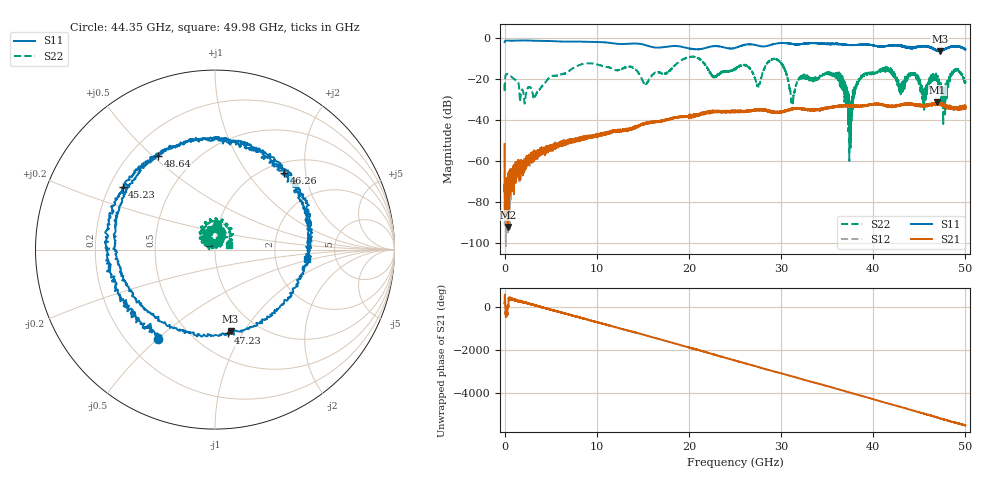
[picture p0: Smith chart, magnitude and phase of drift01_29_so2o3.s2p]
!Created with skrf (http://scikit-rf.org).
# Hz S RI R 50.0
!freq ReS11 ImS11 ReS21 ImS21 ReS12 ImS12 ReS22 ImS22
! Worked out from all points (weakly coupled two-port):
!   10001 points, 300 kHz to 50 GHz, reference 50 ohm
!   highest |S21| = -31.31 dB at 46.94 GHz (marker M1); lowest = -92.1 dB at 355.3 MHz (marker M2)
!   lowest |S11| = -6.7 dB at 47.21 GHz (marker M3), VSWR 2.73, Z = 37.7 - j43.7 ohm
!   |S11| at or under -10 dB: nowhere
!   |S22| runs from -60.0 to -9.2 dB; largest |S21 - S12| = 0.0038
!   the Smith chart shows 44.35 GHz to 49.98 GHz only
!   S11 on the Smith chart (normalised r, x): 44.35 GHz: 0.33, -0.50; 45.23 GHz: 0.25, +0.29; 46.26 GHz: 1.20, +1.53; 47.23 GHz: 0.72, -0.87; 48.64 GHz: 0.31, +0.52; 49.98 GHz: 3.07, -0.43
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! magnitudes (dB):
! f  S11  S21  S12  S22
! 300 kHz  -2.1  -51.8  -54.8  -22.5
! 355.3 MHz  -1.4  -92.1  -72.1  -17.9
! 3.285 GHz  -1.5  -56.5  -57.5  -28.9
! 8.335 GHz  -1.9  -49.6  -49.3  -12.9
! 16.67 GHz  -4.8  -40.8  -40.8  -16.7
! 25 GHz  -5.0  -36.4  -36.0  -15.4
! 29.58 GHz  -2.8  -36.4  -36.5  -10.6
! 31.23 GHz  -3.1  -34.7  -34.5  -31.3
! 33.34 GHz  -2.6  -35.0  -35.1  -19.9
! 36.08 GHz  -3.0  -33.3  -33.5  -18.1
! 37.49 GHz  -3.6  -33.1  -33.3  -33.6
! 38.65 GHz  -3.4  -33.1  -33.1  -20.0
! 41.67 GHz  -3.9  -33.1  -33.2  -16.1
! 44.35 GHz  -4.6  -32.7  -32.4  -17.1
! 45.23 GHz  -4.1  -33.2  -32.9  -23.4
! 46.26 GHz  -4.8  -32.4  -32.3  -19.1
! 46.94 GHz  -6.2  -31.3  -32.0  -19.4
! 47.21 GHz  -6.7  -32.3  -32.1  -24.9
! 47.23 GHz  -6.5  -32.1  -32.0  -24.7
! 48.64 GHz  -4.3  -34.3  -34.2  -17.3
! 49.98 GHz  -5.7  -33.8  -33.7  -21.9
! 50 GHz  -5.6  -33.5  -33.6  -21.8
